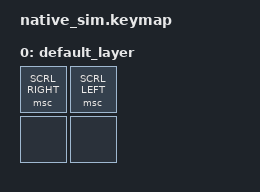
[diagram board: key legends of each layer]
#include <behaviors.dtsi>
#include <behaviors/mouse_move.dtsi>
#include <dt-bindings/zmk/keys.h>
#include <dt-bindings/zmk/input_matrix_mock.h>
#include <dt-bindings/zmk/pointing.h>

/ {
    keymap {
        compatible = "zmk,keymap";

        default_layer {
            bindings = <
                &msc SCRL_RIGHT &msc SCRL_LEFT
                &none &none
            >;
        };
    };
};


&matrix {
    events = <
        ZMK_MOCK_PRESS(0,0,500)
        ZMK_MOCK_RELEASE(0,0,10)
        ZMK_MOCK_PRESS(0,1,500)
        ZMK_MOCK_RELEASE(0,1,10)
    >;
};
